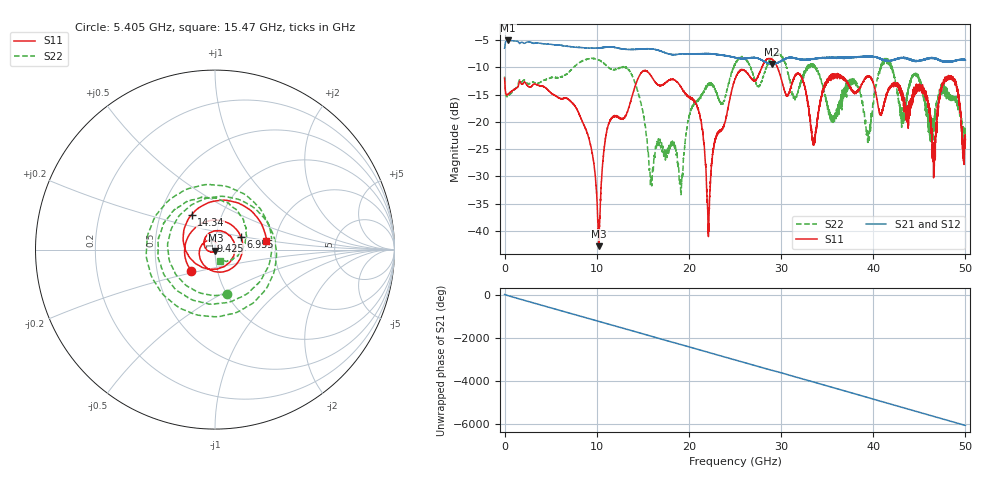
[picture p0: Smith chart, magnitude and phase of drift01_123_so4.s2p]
!Created with skrf (http://scikit-rf.org).
# Hz S RI R 50.0
!freq ReS11 ImS11 ReS21 ImS21 ReS12 ImS12 ReS22 ImS22
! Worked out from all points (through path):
!   10001 points, 300 kHz to 50 GHz, reference 50 ohm
!   highest |S21| = -5.05 dB at 395.3 MHz (marker M1); lowest = -9.4 dB at 28.97 GHz (marker M2)
!   group delay of S21, straight-line fit = 336 ps
!   lowest |S11| = -42.8 dB at 10.25 GHz (marker M3), VSWR 1.01, Z = 50.3 - j0.682 ohm
!   |S11| at or under -10 dB: start of sweep to 27.91 GHz; 29.61 GHz to end of sweep
!   |S22| runs from -33.3 to -7.5 dB; largest |S21 - S12| = 0.015
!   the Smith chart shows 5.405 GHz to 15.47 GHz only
!   S11 on the Smith chart (normalised r, x): 5.405 GHz: 0.75, -0.18; 6.955 GHz: 1.32, +0.19; 9.425 GHz: 0.95, +0.10; 14.34 GHz: 0.72, +0.29; 15.47 GHz: 1.79, +0.20
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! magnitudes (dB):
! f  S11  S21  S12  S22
! 300 kHz  -12.0  -6.5  -6.5  -11.7
! 395.3 MHz  -14.9  -5.1  -5.1  -15.2
! 5.405 GHz  -15.1  -5.9  -5.8  -11.8
! 6.955 GHz  -15.9  -6.1  -6.1  -10.9
! 8.335 GHz  -19.5  -6.4  -6.4  -8.9
! 9.425 GHz  -25.1  -6.5  -6.4  -8.3
! 10.25 GHz  -42.8  -6.4  -6.4  -8.6
! 11.23 GHz  -20.7  -6.3  -6.2  -9.9
! 14.34 GHz  -12.6  -6.7  -6.7  -13.7
! 15.47 GHz  -10.7  -6.6  -6.6  -23.6
! 16.67 GHz  -13.2  -6.9  -6.8  -23.4
! 19.14 GHz  -13.6  -7.5  -7.6  -33.2
! 20.86 GHz  -17.0  -7.5  -7.5  -16.3
! 22.13 GHz  -39.9  -7.5  -7.5  -13.3
! 25 GHz  -12.1  -8.2  -8.2  -9.5
! 28.97 GHz  -8.4  -9.4  -9.4  -8.2
! 33.34 GHz  -22.2  -8.5  -8.4  -9.5
! 39.47 GHz  -11.6  -8.0  -8.0  -21.9
! 41.67 GHz  -13.8  -8.8  -8.8  -9.1
! 46.55 GHz  -27.7  -8.3  -8.3  -20.6
! 48.53 GHz  -12.0  -8.9  -8.9  -15.7
! 50 GHz  -23.3  -8.6  -8.6  -23.0
